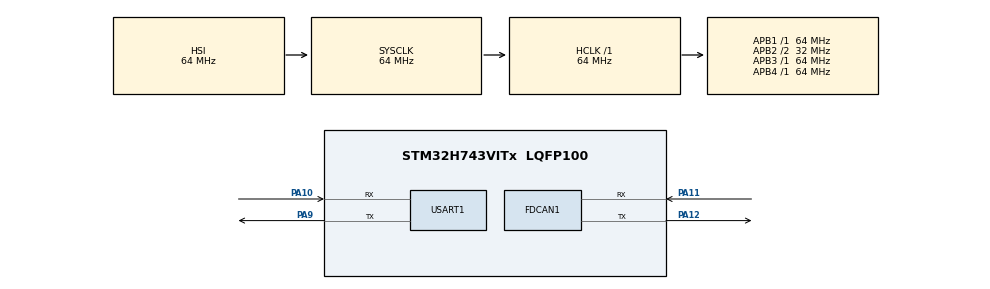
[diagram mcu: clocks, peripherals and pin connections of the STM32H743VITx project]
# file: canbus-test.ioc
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FDCAN1.CalculateBaudRateNominal=500000
FDCAN1.CalculateTimeBitNominal=2000
FDCAN1.CalculateTimeQuantumNominal=20.0
FDCAN1.DataPrescaler=25
FDCAN1.DataTimeSeg1=2
FDCAN1.Mode=FDCAN_MODE_INTERNAL_LOOPBACK
FDCAN1.NominalPrescaler=1
FDCAN1.NominalSyncJumpWidth=13
FDCAN1.NominalTimeSeg1=86
FDCAN1.NominalTimeSeg2=13
FDCAN1.RxFifo0ElmtsNbr=1
FDCAN1.StdFiltersNbr=0
FDCAN1.TxFifoQueueElmtsNbr=1
FREERTOS.BinarySemaphores01=serialSemaphore,Dynamic,NULL
FREERTOS.Tasks01=CANSenderTask,0,512,StartCANSenderTask,Default,NULL,Dynamic,NULL,NULL
Mcu.Family=STM32H7
Mcu.Name=STM32H743VITx
Mcu.Package=LQFP100
NVIC.FDCAN1_IT0_IRQn=true\:5\:0\:false\:false\:true\:true\:true\:true\:true
NVIC.PriorityGroup=NVIC_PRIORITYGROUP_4
PA10.Mode=Asynchronous
PA10.Signal=USART1_RX
PA11.Mode=FDCAN_Activate
PA11.Signal=FDCAN1_RX
PA12.Mode=FDCAN_Activate
PA12.Signal=FDCAN1_TX
PA9.Mode=Asynchronous
PA9.Signal=USART1_TX
ProjectManager.HeapSize=0x200
ProjectManager.StackSize=0x400
ProjectManager.TargetToolchain=STM32CubeIDE
RCC.ADCFreq_Value=129000000
RCC.APB1Freq_Value=64000000
RCC.APB2Freq_Value=32000000
RCC.APB3Freq_Value=64000000
RCC.APB4Freq_Value=64000000
RCC.CortexFreq_Value=64000000
RCC.D2PPRE2=RCC_APB2_DIV2
RCC.DIVM1=4
RCC.DIVN1=9
RCC.DIVQ1=3
RCC.HCLKFreq_Value=64000000
RCC.PLLFRACN=3072
RCC.SYSCLKFreq_VALUE=64000000
RCC.USBFreq_Value=50000000
USART1.VirtualMode-Asynchronous=VM_ASYNC
VP_FREERTOS_VS_CMSIS_V1.Mode=CMSIS_V1
board=custom

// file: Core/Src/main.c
/* USER CODE BEGIN Header */
/**
  ******************************************************************************
  * @file           : main.c
  * @brief          : Main program body
  ******************************************************************************
  * @attention
  *
  * Copyright (c) 2025 STMicroelectronics.
  * All rights reserved.
  *
  * This software is licensed under terms that can be found in the LICENSE file
  * in the root directory of this software component.
  * If no LICENSE file comes with this software, it is provided AS-IS.
  *
  ******************************************************************************
  */
/* USER CODE END Header */
#include "main.h"
#include "cmsis_os.h"

/* USER CODE BEGIN Includes */
#include "stdio.h"
#include <string.h>

FDCAN_TxHeaderTypeDef TxHeader;
FDCAN_RxHeaderTypeDef RxHeader;
uint8_t TxData[8];
uint8_t RxData[8];

/* USER CODE END Includes */

/* USER CODE BEGIN PD */
#ifdef __GNUC__
/* With GCC/RAISONANCE, small printf (option LD Linker->Libraries->Small printf
   set to 'Yes') calls __io_putchar() */
#define PUTCHAR_PROTOTYPE int __io_putchar(int ch)
#else
#define PUTCHAR_PROTOTYPE int fputc(int ch, FILE *f)
#endif /* __GNUC__ */
/* USER CODE END PD */

FDCAN_HandleTypeDef hfdcan1;

UART_HandleTypeDef huart1;

osThreadId CANSenderTaskHandle;
osSemaphoreId serialSemaphoreHandle;

void SystemClock_Config(void);
static void MPU_Config(void);
static void MX_GPIO_Init(void);
static void MX_USART1_UART_Init(void);
static void MX_FDCAN1_Init(void);
void StartCANSenderTask(void const * argument);

int main(void)
{

  /* MPU Configuration--------------------------------------------------------*/
  MPU_Config();

  /* MCU Configuration--------------------------------------------------------*/

  /* Reset of all peripherals, Initializes the Flash interface and the Systick. */
  HAL_Init();

  /* Configure the system clock */
  SystemClock_Config();

  /* Initialize all configured peripherals */
  MX_GPIO_Init();
  MX_USART1_UART_Init();
  MX_FDCAN1_Init();
  /* USER CODE BEGIN 2 */
  if(HAL_FDCAN_Start(&hfdcan1)!= HAL_OK)
	  Error_Handler();
  if (HAL_FDCAN_ActivateNotification(&hfdcan1, FDCAN_IT_RX_FIFO0_NEW_MESSAGE, 0) != HAL_OK)
	  Error_Handler();
  /* USER CODE END 2 */

  /* Create the semaphores(s) */
  /* definition and creation of serialSemaphore */
  osSemaphoreDef(serialSemaphore);
  serialSemaphoreHandle = osSemaphoreCreate(osSemaphore(serialSemaphore), 1);

  /* Create the thread(s) */
  /* definition and creation of CANSenderTask */
  osThreadDef(CANSenderTask, StartCANSenderTask, osPriorityNormal, 0, 512);
  CANSenderTaskHandle = osThreadCreate(osThread(CANSenderTask), NULL);

  /* Start scheduler */
  osKernelStart();

  /* We should never get here as control is now taken by the scheduler */
  /* Infinite loop */
  while (1)
  {

	  osDelay(1);
  }
}

void SystemClock_Config(void)
{
  RCC_OscInitTypeDef RCC_OscInitStruct = {0};
  RCC_ClkInitTypeDef RCC_ClkInitStruct = {0};

  /** Supply configuration update enable
  */
  HAL_PWREx_ConfigSupply(PWR_LDO_SUPPLY);

  /** Configure the main internal regulator output voltage
  */
  __HAL_PWR_VOLTAGESCALING_CONFIG(PWR_REGULATOR_VOLTAGE_SCALE3);

  while(!__HAL_PWR_GET_FLAG(PWR_FLAG_VOSRDY)) {}

  /** Initializes the RCC Oscillators according to the specified parameters
  * in the RCC_OscInitTypeDef structure.
  */
  RCC_OscInitStruct.OscillatorType = RCC_OSCILLATORTYPE_HSI;
  RCC_OscInitStruct.HSIState = RCC_HSI_DIV1;
  RCC_OscInitStruct.HSICalibrationValue = RCC_HSICALIBRATION_DEFAULT;
  RCC_OscInitStruct.PLL.PLLState = RCC_PLL_ON;
  RCC_OscInitStruct.PLL.PLLSource = RCC_PLLSOURCE_HSI;
  RCC_OscInitStruct.PLL.PLLM = 4;
  RCC_OscInitStruct.PLL.PLLN = 9;
  RCC_OscInitStruct.PLL.PLLP = 2;
  RCC_OscInitStruct.PLL.PLLQ = 3;
  RCC_OscInitStruct.PLL.PLLR = 2;
  RCC_OscInitStruct.PLL.PLLRGE = RCC_PLL1VCIRANGE_3;
  RCC_OscInitStruct.PLL.PLLVCOSEL = RCC_PLL1VCOMEDIUM;
  RCC_OscInitStruct.PLL.PLLFRACN = 3072;
  if (HAL_RCC_OscConfig(&RCC_OscInitStruct) != HAL_OK)
  {
    Error_Handler();
  }

  /** Initializes the CPU, AHB and APB buses clocks
  */
  RCC_ClkInitStruct.ClockType = RCC_CLOCKTYPE_HCLK|RCC_CLOCKTYPE_SYSCLK
                              |RCC_CLOCKTYPE_PCLK1|RCC_CLOCKTYPE_PCLK2
                              |RCC_CLOCKTYPE_D3PCLK1|RCC_CLOCKTYPE_D1PCLK1;
  RCC_ClkInitStruct.SYSCLKSource = RCC_SYSCLKSOURCE_HSI;
  RCC_ClkInitStruct.SYSCLKDivider = RCC_SYSCLK_DIV1;
  RCC_ClkInitStruct.AHBCLKDivider = RCC_HCLK_DIV1;
  RCC_ClkInitStruct.APB3CLKDivider = RCC_APB3_DIV1;
  RCC_ClkInitStruct.APB1CLKDivider = RCC_APB1_DIV1;
  RCC_ClkInitStruct.APB2CLKDivider = RCC_APB2_DIV2;
  RCC_ClkInitStruct.APB4CLKDivider = RCC_APB4_DIV1;

  if (HAL_RCC_ClockConfig(&RCC_ClkInitStruct, FLASH_LATENCY_1) != HAL_OK)
  {
    Error_Handler();
  }
}

static void MX_FDCAN1_Init(void)
{

  hfdcan1.Instance = FDCAN1;
  hfdcan1.Init.FrameFormat = FDCAN_FRAME_CLASSIC;
  hfdcan1.Init.Mode = FDCAN_MODE_INTERNAL_LOOPBACK;
  hfdcan1.Init.AutoRetransmission = DISABLE;
  hfdcan1.Init.TransmitPause = DISABLE;
  hfdcan1.Init.ProtocolException = DISABLE;
  hfdcan1.Init.NominalPrescaler = 1;
  hfdcan1.Init.NominalSyncJumpWidth = 13;
  hfdcan1.Init.NominalTimeSeg1 = 86;
  hfdcan1.Init.NominalTimeSeg2 = 13;
  hfdcan1.Init.DataPrescaler = 25;
  hfdcan1.Init.DataSyncJumpWidth = 1;
  hfdcan1.Init.DataTimeSeg1 = 2;
  hfdcan1.Init.DataTimeSeg2 = 1;
  hfdcan1.Init.MessageRAMOffset = 0;
  hfdcan1.Init.StdFiltersNbr = 0;
  hfdcan1.Init.ExtFiltersNbr = 0;
  hfdcan1.Init.RxFifo0ElmtsNbr = 1;
  hfdcan1.Init.RxFifo0ElmtSize = FDCAN_DATA_BYTES_8;
  hfdcan1.Init.RxFifo1ElmtsNbr = 0;
  hfdcan1.Init.RxFifo1ElmtSize = FDCAN_DATA_BYTES_8;
  hfdcan1.Init.RxBuffersNbr = 0;
  hfdcan1.Init.RxBufferSize = FDCAN_DATA_BYTES_8;
  hfdcan1.Init.TxEventsNbr = 0;
  hfdcan1.Init.TxBuffersNbr = 0;
  hfdcan1.Init.TxFifoQueueElmtsNbr = 1;
  hfdcan1.Init.TxFifoQueueMode = FDCAN_TX_FIFO_OPERATION;
  hfdcan1.Init.TxElmtSize = FDCAN_DATA_BYTES_8;
  if (HAL_FDCAN_Init(&hfdcan1) != HAL_OK)
  {
    Error_Handler();
  }

}

static void MX_USART1_UART_Init(void)
{

  huart1.Instance = USART1;
  huart1.Init.BaudRate = 115200;
  huart1.Init.WordLength = UART_WORDLENGTH_8B;
  huart1.Init.StopBits = UART_STOPBITS_1;
  huart1.Init.Parity = UART_PARITY_NONE;
  huart1.Init.Mode = UART_MODE_TX_RX;
  huart1.Init.HwFlowCtl = UART_HWCONTROL_NONE;
  huart1.Init.OverSampling = UART_OVERSAMPLING_16;
  huart1.Init.OneBitSampling = UART_ONE_BIT_SAMPLE_DISABLE;
  huart1.Init.ClockPrescaler = UART_PRESCALER_DIV1;
  huart1.AdvancedInit.AdvFeatureInit = UART_ADVFEATURE_NO_INIT;
  if (HAL_UART_Init(&huart1) != HAL_OK)
  {
    Error_Handler();
  }
  if (HAL_UARTEx_SetTxFifoThreshold(&huart1, UART_TXFIFO_THRESHOLD_1_8) != HAL_OK)
  {
    Error_Handler();
  }
  if (HAL_UARTEx_SetRxFifoThreshold(&huart1, UART_RXFIFO_THRESHOLD_1_8) != HAL_OK)
  {
    Error_Handler();
  }
  if (HAL_UARTEx_DisableFifoMode(&huart1) != HAL_OK)
  {
    Error_Handler();
  }

}

static void MX_GPIO_Init(void)
{

  /* GPIO Ports Clock Enable */
  __HAL_RCC_GPIOA_CLK_ENABLE();

}

/* USER CODE BEGIN 4 */
PUTCHAR_PROTOTYPE
{
  /* Place your implementation of fputc here */
  /* e.g. write a character to the USART1 and Loop until the end of transmission */
  HAL_UART_Transmit(&huart1, (uint8_t *)&ch, 1, 0xFFFF);

  return ch;
}

void handle_data_received(void){

	printf("<- Recv CAN Data (Id : %d) = ",RxHeader.Identifier);

	for (int i = 0; i < sizeof(RxData); i++)
		printf("0x%x ",RxData[i]);

	printf("\n\n");
}

void HAL_FDCAN_RxFifo0Callback(FDCAN_HandleTypeDef *hfdcan, uint32_t RxFifo0ITs)
{
  if((RxFifo0ITs & FDCAN_IT_RX_FIFO0_NEW_MESSAGE) == RESET)
	  return;

  /* Retreive Rx messages from RX FIFO0 */
  if (HAL_FDCAN_GetRxMessage(hfdcan, FDCAN_RX_FIFO0, &RxHeader, RxData) != HAL_OK)
	  Error_Handler();
  if (HAL_FDCAN_ActivateNotification(hfdcan, FDCAN_IT_RX_FIFO0_NEW_MESSAGE, 0) != HAL_OK)
	  Error_Handler();

  handle_data_received();
}

void send_can_data(void){
	static uint8_t dummy;

	TxHeader.Identifier = 0x1;
	TxHeader.IdType = FDCAN_STANDARD_ID;
	TxHeader.TxFrameType = FDCAN_DATA_FRAME;
	TxHeader.DataLength = FDCAN_DLC_BYTES_8;
	TxHeader.ErrorStateIndicator = FDCAN_ESI_ACTIVE;
	TxHeader.BitRateSwitch = FDCAN_BRS_OFF;
	TxHeader.FDFormat = FDCAN_CLASSIC_CAN;
	TxHeader.TxEventFifoControl = FDCAN_NO_TX_EVENTS;
	TxHeader.MessageMarker = 0;

	printf("-> Send CAN Data (Id : %d) = ",TxHeader.Identifier);
	for (int i = 0; i < sizeof(TxData); i++){
		TxData[i] = dummy++;
		printf("0x%x ",TxData[i]);
	}
	printf("\n");

	if (HAL_FDCAN_AddMessageToTxFifoQ(&hfdcan1, &TxHeader, TxData)!= HAL_OK)
		Error_Handler();
}

/* USER CODE END 4 */

void StartCANSenderTask(void const * argument)
{
  /* USER CODE BEGIN 5 */
  /* Infinite loop */
  for(;;)
  {
	  send_can_data();

	  memset(TxData, 0, sizeof(TxData));

	  osDelay(pdMS_TO_TICKS(1000));
  }
  /* USER CODE END 5 */
}

/* MPU Configuration */

void MPU_Config(void)
{
  MPU_Region_InitTypeDef MPU_InitStruct = {0};

  /* Disables the MPU */
  HAL_MPU_Disable();

  /** Initializes and configures the Region and the memory to be protected
  */
  MPU_InitStruct.Enable = MPU_REGION_ENABLE;
  MPU_InitStruct.Number = MPU_REGION_NUMBER0;
  MPU_InitStruct.BaseAddress = 0x0;
  MPU_InitStruct.Size = MPU_REGION_SIZE_4GB;
  MPU_InitStruct.SubRegionDisable = 0x87;
  MPU_InitStruct.TypeExtField = MPU_TEX_LEVEL0;
  MPU_InitStruct.AccessPermission = MPU_REGION_NO_ACCESS;
  MPU_InitStruct.DisableExec = MPU_INSTRUCTION_ACCESS_DISABLE;
  MPU_InitStruct.IsShareable = MPU_ACCESS_SHAREABLE;
  MPU_InitStruct.IsCacheable = MPU_ACCESS_NOT_CACHEABLE;
  MPU_InitStruct.IsBufferable = MPU_ACCESS_NOT_BUFFERABLE;

  HAL_MPU_ConfigRegion(&MPU_InitStruct);
  /* Enables the MPU */
  HAL_MPU_Enable(MPU_PRIVILEGED_DEFAULT);

}

void Error_Handler(void)
{
  __disable_irq();
  while (1)
  {
  }
}
